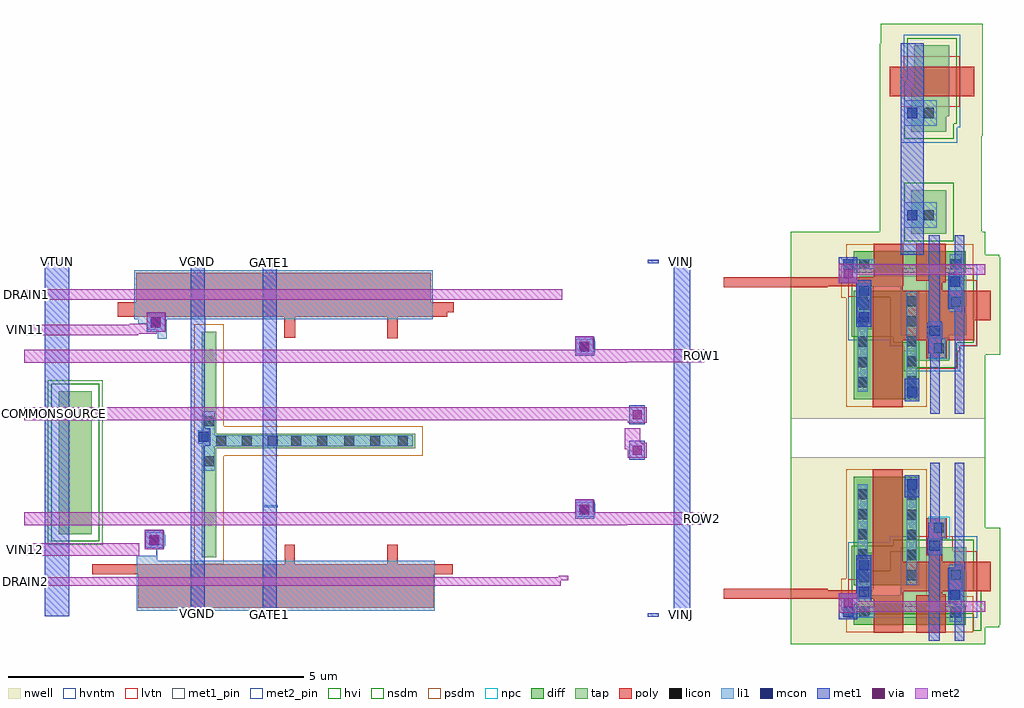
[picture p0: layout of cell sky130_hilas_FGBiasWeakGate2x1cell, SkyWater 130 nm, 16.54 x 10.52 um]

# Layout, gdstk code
import gdstk
lib = gdstk.Library(unit=1e-6, precision=1e-09)
def R(c, l, rs):  # rectangles x0, y0, x1, y1
    for r in rs: c.add(gdstk.rectangle(r[:2], r[2:], *l))
def A(c, l, x, y, w, h, nx, ny, dx, dy):  # array of equal rectangles
    R(c, l, [(x+i*dx, y+j*dy, x+i*dx+w, y+j*dy+h) for i in range(nx) for j in range(ny)])
nwell = (64, 20)
diff = (65, 20)
tap = (65, 44)
poly = (66, 20)
licon = (66, 44)
li1 = (67, 20)
mcon = (67, 44)
met1_pin = (68, 16)
met1 = (68, 20)
via = (68, 44)
met2_pin = (69, 16)
met2 = (69, 20)
hvi = (75, 20)
nsdm = (93, 44)
psdm = (94, 20)
npc = (95, 20)
hvntm = (125, 20)
lvtn = (125, 44)

sky130_hilas_li2m1 = lib.new_cell('sky130_hilas_li2m1')
R(sky130_hilas_li2m1, li1, [(0.02,0.03,0.21,0.26)])
R(sky130_hilas_li2m1, mcon, [(0.03,0.06,0.2,0.23)])
R(sky130_hilas_li2m1, met1, [(0,0,0.23,0.29)])

sky130_hilas_li2m2 = lib.new_cell('sky130_hilas_li2m2')
R(sky130_hilas_li2m2, li1, [(0.01,0.03,0.33,0.06), (0.01,0.06,0.34,0.25), (0.01,0.25,0.33,0.29)])
R(sky130_hilas_li2m2, mcon, [(0.07,0.07,0.24,0.24)])
R(sky130_hilas_li2m2, met1, [(0,0,0.32,0.32)])
R(sky130_hilas_li2m2, via, [(0.085,0.085,0.235,0.235)])
R(sky130_hilas_li2m2, met2, [(0,0,0.31,0.33)])

sky130_hilas_m12m2 = lib.new_cell('sky130_hilas_m12m2')
R(sky130_hilas_m12m2, met1, [(0.03,0,0.29,0.32)])
R(sky130_hilas_m12m2, via, [(0.085,0.085,0.235,0.235)])
R(sky130_hilas_m12m2, met2, [(0,0.03,0.32,0.29)])

sky130_hilas_horiztransc = lib.new_cell('sky130_hilas_horizTransCell01')
R(sky130_hilas_horiztransc, nwell, [(1.13,0,4.43,3.17)])
R(sky130_hilas_horiztransc, diff, [(2.2,0.33,4.1,0.69), (2.2,1,3.31,2.84)])
R(sky130_hilas_horiztransc, tap, [(3.76,0.97,4.1,1.41)])
R(sky130_hilas_horiztransc, poly, [(2.54,0.2,3.04,0.77), (3.26,0.2,3.76,0.83), (0,0.77,3.04,0.91), (3.47,0.83,3.76,0.85), (3.47,0.85,3.7,1.51), (0,0.91,3.03,0.92), (0,0.92,1.76,0.94), (2.52,0.92,3.03,2.97), (3.43,1.51,3.7,1.8), (3.43,1.8,3.78,2.14)])
A(sky130_hilas_horiztransc, licon, 3.1, 1.09, 0.17, 0.17, 1, 5, 0, 0.34)
A(sky130_hilas_horiztransc, licon, 2.27, 1.1, 0.17, 0.17, 1, 5, 0, 0.34)
R(sky130_hilas_horiztransc, licon, [(2.295,0.46,2.465,0.63), (3.845,0.46,4.015,0.63), (3.845,1.095,4.015,1.265), (3.56,1.89,3.73,2.06)])
R(sky130_hilas_horiztransc, li1, [(3.83,0.38,4.03,0.73), (2.02,0.46,2.55,0.63), (3.83,0.73,4.04,0.76), (3.82,0.76,4.04,1.34), (3.1,1.01,3.27,2.62), (2.27,1.02,2.44,2.71), (3.83,1.34,4.04,1.35), (3.47,1.51,3.66,1.52), (3.47,1.52,3.67,1.81), (3.46,1.81,3.75,2.14), (3.1,2.62,3.28,2.81)])
R(sky130_hilas_horiztransc, mcon, [(2.025,0.46,2.195,0.63), (3.84,0.76,4.01,0.93), (3.485,1.59,3.655,1.76), (3.105,2.63,3.275,2.8)])
R(sky130_hilas_horiztransc, met1, [(3.47,0.06,3.66,1.51), (3.91,0.06,4.07,0.7), (1.95,0.43,2.26,0.87), (3.8,0.7,4.07,1.25), (3.8,1.25,4.08,1.3), (3.91,1.3,4.08,1.39), (3.91,1.39,4.07,3.08), (3.47,1.51,3.69,1.54), (3.45,1.54,3.7,1.81), (3.46,1.81,3.7,1.82), (3.46,1.82,3.69,2.06), (3.5,2.06,3.66,3.08), (3.07,2.49,3.31,2.87)])
R(sky130_hilas_horiztransc, via, [(2.035,0.635,2.185,0.785)])
R(sky130_hilas_horiztransc, met2, [(1.95,0.54,2.26,0.55), (1.95,0.55,4.43,0.73), (1.95,0.73,2.26,0.87)])
R(sky130_hilas_horiztransc, hvi, [(1.13,0,4.43,3.17)])
R(sky130_hilas_horiztransc, nsdm, [(3.635,0.845,4.225,1.535)])
R(sky130_hilas_horiztransc, psdm, [(2.075,0.205,4.225,0.815), (2.075,0.815,3.435,2.965)])
R(sky130_hilas_horiztransc, npc, [(3.46,1.79,3.83,2.16)])

sky130_hilas_fgvaractorc = lib.new_cell('sky130_hilas_FGVaractorCapacitor02')
R(sky130_hilas_fgvaractorc, nwell, [(0,0,2.72,1.65), (0,1.65,2.71,1.69)])
R(sky130_hilas_fgvaractorc, tap, [(1.04,0.33,2.15,1.15), (0.33,0.43,0.55,1.15), (0.33,1.15,2.15,1.34)])
R(sky130_hilas_fgvaractorc, poly, [(0.64,0.58,2.56,1.08)])
R(sky130_hilas_fgvaractorc, licon, [(0.335,0.76,0.505,0.93)])
R(sky130_hilas_fgvaractorc, li1, [(0.3,0.52,0.53,1.21)])
R(sky130_hilas_fgvaractorc, mcon, [(0.33,0.55,0.5,0.72), (0.33,1,0.5,1.17)])
R(sky130_hilas_fgvaractorc, met1, [(0.28,0.47,0.54,1.26)])
R(sky130_hilas_fgvaractorc, hvi, [(0,0,2.72,1.65), (0,1.65,2.71,1.69)])
R(sky130_hilas_fgvaractorc, nsdm, [(0.915,0.205,2.275,0.305), (0.205,0.305,2.275,1.465)])
R(sky130_hilas_fgvaractorc, hvntm, [(0.855,0.145,2.335,0.245), (0.145,0.245,2.335,1.525)])
R(sky130_hilas_fgvaractorc, lvtn, [(0.86,0.4,2.33,1.26)])

sky130_hilas_wellcontact = lib.new_cell('sky130_hilas_wellContact')
R(sky130_hilas_wellcontact, nwell, [(0,0.01,1.73,1.85)])
R(sky130_hilas_wellcontact, tap, [(0.54,0.36,1.13,1.1)])
R(sky130_hilas_wellcontact, licon, [(0.745,0.59,0.915,0.76)])
R(sky130_hilas_wellcontact, li1, [(0.42,0.46,0.97,0.89)])
R(sky130_hilas_wellcontact, mcon, [(0.47,0.59,0.64,0.76)])
R(sky130_hilas_wellcontact, met1, [(0.36,0,0.75,1.86)])
R(sky130_hilas_wellcontact, hvi, [(0,0.01,1.73,1.85)])
R(sky130_hilas_wellcontact, nsdm, [(0.415,0.235,1.255,1.225)])

sky130_hilas_tuncap01 = lib.new_cell('sky130_hilas_TunCap01')
R(sky130_hilas_tuncap01, nwell, [(0,0,1.73,1.9)])
R(sky130_hilas_tuncap01, tap, [(0.57,0.33,1.16,1.53)])
R(sky130_hilas_tuncap01, poly, [(0.15,0.67,1.58,1.17)])
R(sky130_hilas_tuncap01, hvi, [(0,0,1.73,1.9)])
R(sky130_hilas_tuncap01, nsdm, [(0.445,0.205,1.285,1.655)])
R(sky130_hilas_tuncap01, hvntm, [(0.385,0.145,1.345,1.715)])
R(sky130_hilas_tuncap01, lvtn, [(0.39,0.49,1.34,1.35)])

sky130_hilas_fgbiasweakg = lib.new_cell('sky130_hilas_FGBiasWeakGate2x1cell')
R(sky130_hilas_fgbiasweakg, nwell, [(0.59,1.87,1.15,4.29)])
R(sky130_hilas_fgbiasweakg, tap, [(3.01,1.48,3.26,3.32), (0.59,1.87,1.15,4.29), (3.01,3.32,6.63,3.57), (3.01,3.57,3.26,5.3)])
R(sky130_hilas_fgbiasweakg, poly, [(1.94,0.62,6.94,1.19), (1.16,1.19,7.27,1.36), (4.42,1.36,4.59,1.69), (6.16,1.36,6.33,1.69), (6.16,5.19,6.33,5.55), (4.41,5.2,4.6,5.55), (1.59,5.55,7.17,5.63), (1.59,5.63,7.28,5.8), (1.9,5.8,6.89,6.3)])
R(sky130_hilas_fgbiasweakg, licon, [(3.05,3.02,3.22,3.19), (3.26,3.36,3.43,3.53), (3.69,3.36,3.86,3.53), (4.13,3.36,4.3,3.53), (4.53,3.36,4.7,3.53), (4.97,3.36,5.14,3.53), (5.87,3.36,6.04,3.53), (6.33,3.36,6.5,3.53), (5.43,3.37,5.6,3.54), (3.05,3.7,3.22,3.87)])
R(sky130_hilas_fgbiasweakg, li1, [(1.91,0.57,6.96,1.42), (1.91,1.42,2.26,1.5), (2.24,1.5,2.26,1.75), (4.07,2.32,4.3,2.36), (3.04,2.94,3.23,3.36), (3.04,3.36,6.59,3.54), (3.04,3.54,3.23,3.95), (2.27,5.18,2.42,5.43), (1.94,5.43,2.42,5.51), (1.87,5.51,6.93,6.34)])
R(sky130_hilas_fgbiasweakg, met1_pin, [(2.83,0.47,3.06,0.57), (4.05,0.47,4.28,0.55), (10.57,0.47,10.76,0.53), (11.01,0.47,11.29,0.54), (4.05,6.44,4.28,6.52), (0.35,6.45,0.77,6.52), (2.83,6.45,3.06,6.52), (11.01,6.45,11.29,6.52), (10.57,6.46,10.76,6.51)])
R(sky130_hilas_fgbiasweakg, met1, [(2.83,0.47,3.06,5.3), (4.05,0.47,4.28,6.52), (10.57,0.47,10.76,0.53), (11.01,0.47,11.29,6.52), (0.35,0.48,0.77,6.52), (2.83,5.3,3.07,5.55), (2.83,5.55,3.06,6.52), (10.57,6.46,10.76,6.52)])
R(sky130_hilas_fgbiasweakg, met2_pin, [(0,0.99,0.05,1.14), (0,1.5,0.06,1.71), (11.46,2.03,11.53,2.24), (0,3.8,0.06,4.02), (11.45,4.78,11.53,5), (0,5.24,0.05,5.42), (0,5.84,0.07,6.02)])
R(sky130_hilas_fgbiasweakg, met2, [(0,0.99,9.1,1.09), (0,1.09,9.22,1.14), (9.06,1.14,9.22,1.16), (0,1.5,1.95,1.71), (0,2.02,10.22,2.03), (0,2.03,11.53,2.24), (10.18,3.31,10.44,3.66), (0,3.8,10.46,4.02), (0,4.77,10.22,4.78), (0,4.78,11.53,4.99), (9.5,4.99,11.53,5), (0,5.24,1.94,5.26), (0,5.26,2.25,5.42), (1.79,5.42,2.25,5.43), (0,5.84,9.12,6.02)])
R(sky130_hilas_fgbiasweakg, hvi, [(0.405,1.685,1.335,4.475), (12.99,3.17,16.29,3.82)])
R(sky130_hilas_fgbiasweakg, nsdm, [(16.085,0.235,16.22,0.515), (16.095,0.515,16.22,0.92), (0.465,1.745,1.275,4.415)])
R(sky130_hilas_fgbiasweakg, psdm, [(13.85,0.575,13.935,1.115), (2.885,1.355,3.385,3.195), (2.885,3.195,6.755,3.695), (2.885,3.695,3.385,5.425), (13.85,5.875,13.935,6.415)])
R(sky130_hilas_fgbiasweakg, hvntm, [(14.855,8.505,15.815,8.765), (14.855,8.765,14.905,9.615)])
R(sky130_hilas_fgbiasweakg, lvtn, [(14.22,0.51,15.8,0.59), (13.97,0.59,15.8,0.72), (13.97,0.72,14.68,1.1), (14.25,1.1,14.68,1.245), (15.11,1.58,15.74,1.83), (15.11,4.67,15.82,4.97), (14.68,5.06,14.91,5.31), (15.86,5.06,16.15,5.31), (14.2,5.88,14.68,5.89), (13.97,5.89,14.68,6.17), (13.97,6.17,15.8,6.4), (14.22,6.4,15.8,6.43), (14.86,9.11,14.91,9.61)])
sky130_hilas_fgbiasweakg.add(gdstk.Reference(sky130_hilas_li2m1, (2.93,3.37)))
sky130_hilas_fgbiasweakg.add(gdstk.Reference(sky130_hilas_li2m2, (2.05,1.61)))
sky130_hilas_fgbiasweakg.add(gdstk.Reference(sky130_hilas_m12m2, (10.23,3.13)))
sky130_hilas_fgbiasweakg.add(gdstk.Reference(sky130_hilas_li2m2, (9.34,2.13)))
sky130_hilas_fgbiasweakg.add(gdstk.Reference(sky130_hilas_horiztransc, (11.86,0)))
sky130_hilas_fgbiasweakg.add(gdstk.Reference(sky130_hilas_fgvaractorc, (13.82,1.98), x_reflection=True))
sky130_hilas_fgbiasweakg.add(gdstk.Reference(sky130_hilas_li2m2, (2.08,5.3)))
sky130_hilas_fgbiasweakg.add(gdstk.Reference(sky130_hilas_m12m2, (10.23,3.73)))
sky130_hilas_fgbiasweakg.add(gdstk.Reference(sky130_hilas_li2m2, (9.34,4.89)))
sky130_hilas_fgbiasweakg.add(gdstk.Reference(sky130_hilas_horiztransc, (11.86,6.99), x_reflection=True))
sky130_hilas_fgbiasweakg.add(gdstk.Reference(sky130_hilas_fgvaractorc, (13.82,4.91)))
sky130_hilas_fgbiasweakg.add(gdstk.Reference(sky130_hilas_wellcontact, (14.5,6.6)))
sky130_hilas_fgbiasweakg.add(gdstk.Reference(sky130_hilas_tuncap01, (14.52,4.48)))
sky130_hilas_fgbiasweakg.add(gdstk.Reference(sky130_hilas_wellcontact, (14.5,8.33)))
sky130_hilas_fgbiasweakg.add(gdstk.Reference(sky130_hilas_tuncap01, (14.52,8.62)))
sky130_hilas_fgbiasweakg.add(gdstk.Label('DRAIN1', (0.035,5.93), layer=69, texttype=16))
sky130_hilas_fgbiasweakg.add(gdstk.Label('VIN11', (0.025,5.33), layer=69, texttype=16))
sky130_hilas_fgbiasweakg.add(gdstk.Label('ROW1', (11.49,4.89), layer=69, texttype=16))
sky130_hilas_fgbiasweakg.add(gdstk.Label('ROW2', (11.495,2.135), layer=69, texttype=16))
sky130_hilas_fgbiasweakg.add(gdstk.Label('VINJ', (11.15,6.485), layer=68, texttype=16))
sky130_hilas_fgbiasweakg.add(gdstk.Label('VINJ', (11.15,0.505), layer=68, texttype=16))
sky130_hilas_fgbiasweakg.add(gdstk.Label('COLSEL1', (10.665,6.485), layer=68, texttype=16))
sky130_hilas_fgbiasweakg.add(gdstk.Label('COLSEL1', (10.665,0.5), layer=68, texttype=16))
sky130_hilas_fgbiasweakg.add(gdstk.Label('VGND', (2.945,6.485), layer=68, texttype=16))
sky130_hilas_fgbiasweakg.add(gdstk.Label('VGND', (2.945,0.52), layer=68, texttype=16))
sky130_hilas_fgbiasweakg.add(gdstk.Label('GATE1', (4.165,6.48), layer=68, texttype=16))
sky130_hilas_fgbiasweakg.add(gdstk.Label('VTUN', (0.56,6.485), layer=68, texttype=16))
sky130_hilas_fgbiasweakg.add(gdstk.Label('GATE1', (4.165,0.51), layer=68, texttype=16))
sky130_hilas_fgbiasweakg.add(gdstk.Label('DRAIN2', (0.025,1.065), layer=69, texttype=16))
sky130_hilas_fgbiasweakg.add(gdstk.Label('VIN12', (0.03,1.605), layer=69, texttype=16))
sky130_hilas_fgbiasweakg.add(gdstk.Label('COMMONSOURCE', (0.03,3.91), layer=69, texttype=16))

lib.write_gds('sky130_hilas_FGBiasWeakGate2x1cell.gds')
